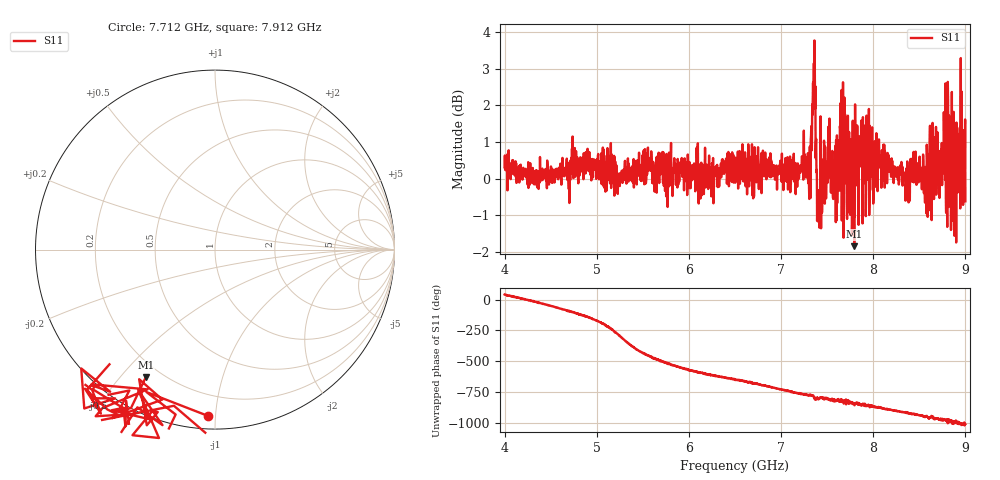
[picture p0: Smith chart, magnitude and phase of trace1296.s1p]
! Created with skrf 1.8.0 (http://scikit-rf.org).
# Hz S RI R 50.0
!freq ReS11 ImS11
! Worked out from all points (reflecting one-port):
!   1601 points, 4 GHz to 9 GHz, reference 50 ohm
!   lowest |S11| = -1.8 dB at 7.794 GHz (marker M1), VSWR 9.45, Z = 7.14 - j29.3 ohm
!   phase of S11 starts at 41 deg and turns -1049 deg over the sweep
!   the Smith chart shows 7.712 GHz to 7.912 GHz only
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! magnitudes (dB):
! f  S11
! 4 GHz  0.3
! 4.625 GHz  0.1
! 4.894 GHz  0.3
! 5.25 GHz  -0.2
! 5.575 GHz  0.6
! 5.875 GHz  -0.2
! 6.5 GHz  0.2
! 7.125 GHz  0.3
! 7.294 GHz  -0.1
! 7.319 GHz  -0.5
! 7.347 GHz  2.6
! 7.362 GHz  3.8
! 7.4 GHz  -0.4
! 7.412 GHz  -0.3
! 7.519 GHz  0.0
! 7.609 GHz  -0.7
! 7.662 GHz  0.7
! 7.75 GHz  -1.0
! 7.794 GHz  -1.8
! 7.891 GHz  0.2
! 8.375 GHz  -0.3
! 8.425 GHz  -0.1
! 8.584 GHz  0.7
! 8.788 GHz  -0.5
! 8.841 GHz  1.4
! 8.919 GHz  -0.4
! 8.959 GHz  2.4
! 9 GHz  -0.6
